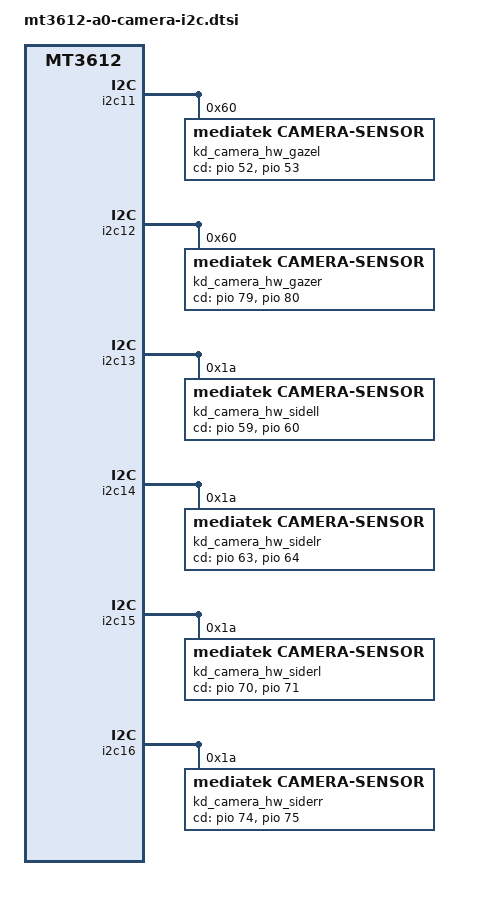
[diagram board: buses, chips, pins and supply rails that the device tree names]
/*
 * Copyright (c) 2018 MediaTek Inc.
 * Author: Yung-Chi Chen <yung-chi.chen@mediatek.com>
 *
 * This program is free software; you can redistribute it and/or modify
 * it under the terms of the GNU General Public License version 2 as
 * published by the Free Software Foundation.
 *
 * This program is distributed in the hope that it will be useful,
 * but WITHOUT ANY WARRANTY; without even the implied warranty of
 * MERCHANTABILITY or FITNESS FOR A PARTICULAR PURPOSE.  See the
 * GNU General Public License for more details.
 */
#include <dt-bindings/camera.h>
#include "mt3615-pinfunc.h"

&pio {
	/* Sensor LDO */
	camera_pins_cam_ldo_0: cam_ldo_disable {
		pins_cmd_dat {
			pinmux = <MT3615_PIN_8_GPIO8__FUNC_GPIO8>;
			output-low;
		};
	};

	camera_pins_cam_ldo_1: cam_ldo_enable {
		pins_cmd_dat {
			pinmux = <MT3615_PIN_8_GPIO8__FUNC_GPIO8>;
			output-high;
		};
	};

	/* Side-0(LL) */
	camera_pins_cam_side_ll_clk: cam_side_ll_0 {
		pins_cmd_dat {
			pinmux = <MT3612_PIN_58_GPIO58__FUNC_CSIDIOS0_CAMCLK_N>;
			drive-strength = <MTK_DRIVE_2mA>;
		};
	};

	camera_pins_cam_side_ll_vsync: cam_side_ll_1 {
		pins_cmd_dat {
			pinmux = <MT3612_PIN_61_GPIO61__FUNC_CSIDIOS01_VSYNC>;
			drive-strength = <MTK_DRIVE_2mA>;
		};
	};

	camera_pins_cam_side_ll_gpio_61: cam_side_ll_2 {
		pins_cmd_dat {
			pinmux = <MT3612_PIN_61_GPIO61__FUNC_GPIO61>;
			drive-strength = <MTK_DRIVE_2mA>;
			input-enable;
		};
	};

	/* Side-1(LR) */
	camera_pins_cam_side_lr_clk: cam_side_lr_0 {
		pins_cmd_dat {
			pinmux = <MT3612_PIN_62_GPIO62__FUNC_CSIDIOS1_CAMCLK_N>;
			drive-strength = <MTK_DRIVE_2mA>;
		};
	};
	camera_pins_cam_side_lr_vsync: cam_side_lr_1 {
		pins_cmd_dat {
			pinmux = <MT3612_PIN_61_GPIO61__FUNC_CSIDIOS01_VSYNC>;
			drive-strength = <MTK_DRIVE_2mA>;
		};
	};
	camera_pins_cam_side_lr_gpio_61: cam_side_lr_2 {
		pins_cmd_dat {
			pinmux = <MT3612_PIN_61_GPIO61__FUNC_GPIO61>;
			drive-strength = <MTK_DRIVE_2mA>;
			input-enable;
		};
	};

	/* Side-2(RL) */
	camera_pins_cam_side_rl_clk: cam_side_rl_0 {
		pins_cmd_dat {
			pinmux = <MT3612_PIN_69_GPIO69__FUNC_CSIDIOS2_CAMCLK_N>;
			drive-strength = <MTK_DRIVE_2mA>;
		};
	};
	camera_pins_cam_side_rl_vsync: cam_side_rl_1 {
		pins_cmd_dat {
			pinmux = <MT3612_PIN_72_GPIO72__FUNC_CSIDIOS23_VSYNC>;
			drive-strength = <MTK_DRIVE_2mA>;
		};
	};
	camera_pins_cam_side_rl_gpio_72: cam_side_rl_2 {
		pins_cmd_dat {
			pinmux = <MT3612_PIN_72_GPIO72__FUNC_GPIO72>;
			drive-strength = <MTK_DRIVE_2mA>;
			input-enable;
		};
	};

	/* Side-3(RR) */
	camera_pins_cam_side_rr_clk: cam_side_rr_0 {
		pins_cmd_dat {
			pinmux = <MT3612_PIN_73_GPIO73__FUNC_CSIDIOS3_CAMCLK_N>;
			drive-strength = <MTK_DRIVE_2mA>;
		};
	};
	camera_pins_cam_side_rr_vsync: cam_side_rr_1 {
		pins_cmd_dat {
			pinmux = <MT3612_PIN_72_GPIO72__FUNC_CSIDIOS23_VSYNC>;
			drive-strength = <MTK_DRIVE_2mA>;
		};
	};
	camera_pins_cam_side_rr_gpio_72: cam_side_rr_2 {
		pins_cmd_dat {
			pinmux = <MT3612_PIN_72_GPIO72__FUNC_GPIO72>;
			drive-strength = <MTK_DRIVE_2mA>;
			input-enable;
		};
	};

	/* Gaze-0(L) */
	camera_pins_cam_gaze_l_clk: cam_gaze_l_0 {
		pins_cmd_dat {
			pinmux = <MT3612_PIN_51_GPIO51__FUNC_CSIDIOG0_CAMCLK_N>;
			drive-strength = <MTK_DRIVE_2mA>;
		};
	};
	camera_pins_cam_gaze_l_vsync: cam_gaze_l_1 {
		pins_cmd_dat {
			pinmux =
			<MT3612_PIN_50_GPIO50__FUNC_CSIDIOG0_VSYNC>;
			drive-strength = <MTK_DRIVE_2mA>;
		};
	};
	camera_pins_cam_gaze_l_gpio_50: cam_gaze_l_2 {
		pins_cmd_dat {
			pinmux =
			<MT3612_PIN_50_GPIO50__FUNC_GPIO50>;
			drive-strength = <MTK_DRIVE_2mA>;
			input-enable;
		};
	};

	/* Gaze-1(R) */
	camera_pins_cam_gaze_r_clk: cam_gaze_r_0 {
		pins_cmd_dat {
			pinmux = <MT3612_PIN_78_GPIO78__FUNC_CSIDIOG1_CAMCLK_N>;
			drive-strength = <MTK_DRIVE_2mA>;
		};
	};
	camera_pins_cam_gaze_r_vsync: cam_gaze_r_1 {
		pins_cmd_dat {
			pinmux =
			<MT3612_PIN_81_GPIO81__FUNC_CSIDIOG1_VSYNC>;
			drive-strength = <MTK_DRIVE_2mA>;
		};
	};
	camera_pins_cam_gaze_r_gpio_81: cam_gaze_r_2 {
		pins_cmd_dat {
			pinmux =
			<MT3612_PIN_81_GPIO81__FUNC_GPIO81>;
			drive-strength = <MTK_DRIVE_2mA>;
			input-enable;
		};
	};

	/* Gaze-2(LED) */
	/*
	camera_pins_cam_gaze_led_vsync: cam_gaze_led_0 {
		pins_cmd_dat {
			pinmux =
			<MT3612_PIN_82_GPIO82__FUNC_CSIDIOG2_VSYNC>;
			drive-strength = <MTK_DRIVE_2mA>;
		};
	};
	*/
};

&i2c11 {
	kd_camera_hw_gazel@60 {
		compatible = "mediatek,camera-sensor";
		reg = <0x60>;
		sensorIdx = <MTK_CAMERA_GAZE_L>;
		clocks = <&topckgen CLK_TOP_SENM7_SEL>,
			 <&topckgen TOPCKGEN_SENM7_CG>,
			 <&topckgen CLK_TOP_CLK26M_CK>,
			 <&topckgen CLK_TOP_UNIVPLL_D52>;
		clock-names = "senm_sel", "senm_cg",
			      "clk26m", "univpll_d52";
		pinctrl-names = "cam_clk", "cam_dsi_sync", "cam_pair_sync",
				"cam_ldo_disable", "cam_ldo_enable";
		pinctrl-0 = <&camera_pins_cam_gaze_l_clk>;
		pinctrl-1 = <&camera_pins_cam_gaze_l_vsync>;
		pinctrl-2 = <&camera_pins_cam_gaze_l_gpio_50>;
		pinctrl-3 = <&camera_pins_cam_ldo_0>;
		pinctrl-4 = <&camera_pins_cam_ldo_1>;
		cd-gpios = <&pio 52 0>, /* gaze0 rst */
			   <&pio 53 0>; /* gaze0 pdn */
	};
};
&i2c12 {
	kd_camera_hw_gazer@60 {
		compatible = "mediatek,camera-sensor";
		reg = <0x60>;
		sensorIdx = <MTK_CAMERA_GAZE_R>;
		clocks = <&topckgen CLK_TOP_SENM8_SEL>,
			 <&topckgen TOPCKGEN_SENM8_CG>,
			 <&topckgen CLK_TOP_CLK26M_CK>,
			 <&topckgen CLK_TOP_UNIVPLL_D52>;
		clock-names = "senm_sel", "senm_cg",
			      "clk26m", "univpll_d52";
		pinctrl-names = "cam_clk", "cam_dsi_sync", "cam_pair_sync",
				"cam_ldo_disable", "cam_ldo_enable";
		pinctrl-0 = <&camera_pins_cam_gaze_r_clk>;
		/* pinctrl-1 = <&camera_pins_cam_gaze_r_vsync>, <&camera_pins_cam_gaze_led_vsync>; */
		pinctrl-1 = <&camera_pins_cam_gaze_r_vsync>;
		pinctrl-2 = <&camera_pins_cam_gaze_r_gpio_81>;
		pinctrl-3 = <&camera_pins_cam_ldo_0>;
		pinctrl-4 = <&camera_pins_cam_ldo_1>;
		cd-gpios = <&pio 79 0>, /* gaze1 rst */
			   <&pio 80 0>; /* gaze1 pdn */
	};
};
&i2c13 {
	kd_camera_hw_sidell@1a {
		compatible = "mediatek,camera-sensor";
		reg = <0x1A>;
		sensorIdx = <MTK_CAMERA_SIDE_LL>;
		clocks = <&topckgen CLK_TOP_SENM3_SEL>,
			 <&topckgen TOPCKGEN_SENM3_CG>,
			 <&topckgen CLK_TOP_CLK26M_CK>,
			 <&topckgen CLK_TOP_UNIVPLL_D52_D2>;
		clock-names = "senm_sel", "senm_cg",
			      "clk26m", "univpll_d52";
		pinctrl-names = "cam_clk", "cam_dsi_sync", "cam_pair_sync",
				"cam_ldo_disable", "cam_ldo_enable";
		pinctrl-0 = <&camera_pins_cam_side_ll_clk>;
		pinctrl-1 = <&camera_pins_cam_side_ll_vsync>;
		pinctrl-2 = <&camera_pins_cam_side_ll_gpio_61>;
		pinctrl-3 = <&camera_pins_cam_ldo_0>;
		pinctrl-4 = <&camera_pins_cam_ldo_1>;
		cd-gpios = <&pio 59 0>, /* side0 rst */
			   <&pio 60 0>; /* side0 pdn */
	};
};
&i2c14 {
	kd_camera_hw_sidelr@1a {
		compatible = "mediatek,camera-sensor";
		reg = <0x1A>;
		sensorIdx = <MTK_CAMERA_SIDE_LR>;
		clocks = <&topckgen CLK_TOP_SENM4_SEL>,
			 <&topckgen TOPCKGEN_SENM4_CG>,
			 <&topckgen CLK_TOP_CLK26M_CK>,
			 <&topckgen CLK_TOP_UNIVPLL_D52_D2>;
		clock-names = "senm_sel", "senm_cg",
			      "clk26m", "univpll_d52";
		pinctrl-names = "cam_clk", "cam_dsi_sync", "cam_pair_sync",
				"cam_ldo_disable", "cam_ldo_enable";
		pinctrl-0 = <&camera_pins_cam_side_lr_clk>;
		pinctrl-1 = <&camera_pins_cam_side_ll_vsync>;
		pinctrl-2 = <&camera_pins_cam_side_ll_gpio_61>;
		pinctrl-3 = <&camera_pins_cam_ldo_0>;
		pinctrl-4 = <&camera_pins_cam_ldo_1>;
		cd-gpios = <&pio 63 0>, /* side1 rst */
			   <&pio 64 0>; /* side1 pdn */
	};
};
&i2c15 {
	kd_camera_hw_siderl@1a {
		compatible = "mediatek,camera-sensor";
		reg = <0x1A>;
		sensorIdx = <MTK_CAMERA_SIDE_RL>;
		clocks = <&topckgen CLK_TOP_SENM5_SEL>,
			 <&topckgen TOPCKGEN_SENM5_CG>,
			 <&topckgen CLK_TOP_CLK26M_CK>,
			 <&topckgen CLK_TOP_UNIVPLL_D52_D2>;
		clock-names = "senm_sel", "senm_cg",
			      "clk26m", "univpll_d52";
		pinctrl-names = "cam_clk", "cam_dsi_sync", "cam_pair_sync",
				"cam_ldo_disable", "cam_ldo_enable";
		pinctrl-0 = <&camera_pins_cam_side_rl_clk>;
		pinctrl-1 = <&camera_pins_cam_side_rl_vsync>;
		pinctrl-2 = <&camera_pins_cam_side_rl_gpio_72>;
		pinctrl-3 = <&camera_pins_cam_ldo_0>;
		pinctrl-4 = <&camera_pins_cam_ldo_1>;
		cd-gpios = <&pio 70 0>, /* side2 rst */
			   <&pio 71 0>; /* side2 pdn */
	};
};
&i2c16 {
	kd_camera_hw_siderr@1a {
		compatible = "mediatek,camera-sensor";
		reg = <0x1A>;
		sensorIdx = <MTK_CAMERA_SIDE_RR>;
		clocks = <&topckgen CLK_TOP_SENM6_SEL>,
			 <&topckgen TOPCKGEN_SENM6_CG>,
			 <&topckgen CLK_TOP_CLK26M_CK>,
			 <&topckgen CLK_TOP_UNIVPLL_D52_D2>;
		clock-names = "senm_sel", "senm_cg",
			      "clk26m", "univpll_d52";
		pinctrl-names = "cam_clk", "cam_dsi_sync", "cam_pair_sync",
				"cam_ldo_disable", "cam_ldo_enable";
		pinctrl-0 = <&camera_pins_cam_side_rr_clk>;
		pinctrl-1 = <&camera_pins_cam_side_rl_vsync>;
		pinctrl-2 = <&camera_pins_cam_side_rl_gpio_72>;
		pinctrl-3 = <&camera_pins_cam_ldo_0>;
		pinctrl-4 = <&camera_pins_cam_ldo_1>;
		cd-gpios = <&pio 74 0>, /* side3 rst */
			   <&pio 75 0>; /* side3 pdn */
	};
};

